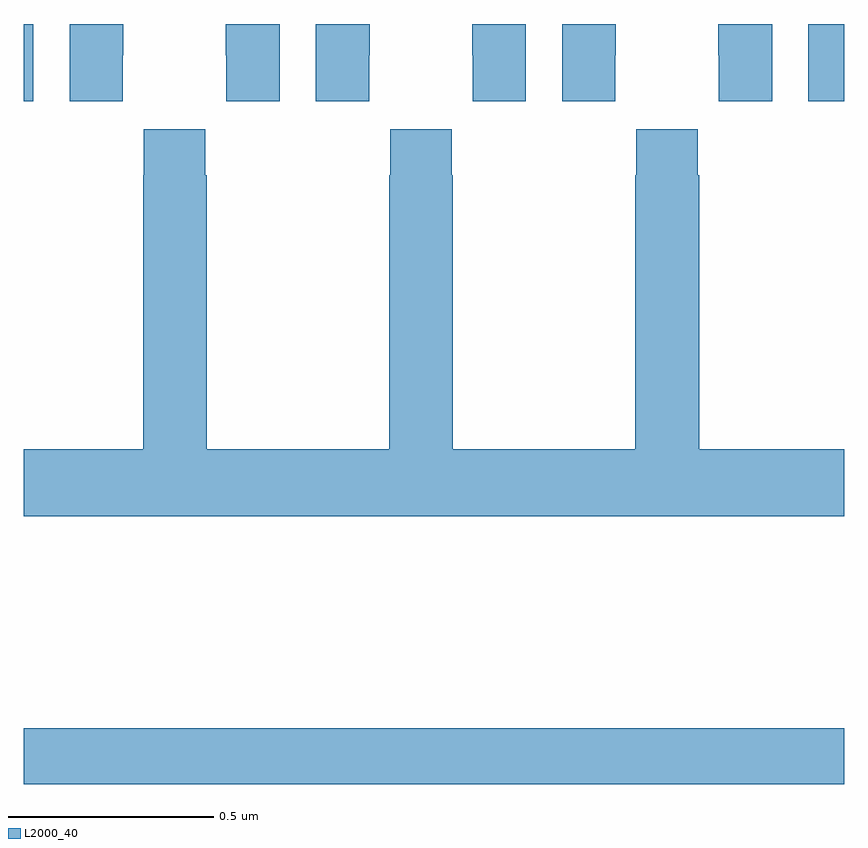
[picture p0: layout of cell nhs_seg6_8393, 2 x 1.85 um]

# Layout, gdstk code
import gdstk
lib = gdstk.Library(unit=1e-6, precision=1e-09)
def R(c, l, rs):  # rectangles x0, y0, x1, y1
    for r in rs: c.add(gdstk.rectangle(r[:2], r[2:], *l))
def P(c, l, *ps):  # polygons
    for p in ps: c.add(gdstk.Polygon(p, *l))
L2000_40 = (2000, 40)

nhs_seg6_8393 = lib.new_cell('nhs_seg6_8393')
R(nhs_seg6_8393, L2000_40, [(220,982.648,222,982.784), (220,984.312,220.024,984.5), (221.912,984.312,222,984.5)])
P(nhs_seg6_8393, L2000_40, [(220.242,984.424),(220.243,984.424),(220.243,984.5),(220.112,984.5),(220.112,984.312),(220.242,984.312)],
  [(220.624,984.5),(220.493,984.5),(220.493,984.424),(220.494,984.424),(220.494,984.312),(220.624,984.312)],
  [(220.842,984.424),(220.843,984.424),(220.843,984.5),(220.712,984.5),(220.712,984.312),(220.842,984.312)],
  [(221.224,984.5),(221.093,984.5),(221.093,984.424),(221.094,984.424),(221.094,984.312),(221.224,984.312)],
  [(221.442,984.424),(221.443,984.424),(221.443,984.5),(221.312,984.5),(221.312,984.312),(221.442,984.312)],
  [(221.824,984.5),(221.693,984.5),(221.693,984.424),(221.694,984.424),(221.694,984.312),(221.824,984.312)],
  [(222,983.464),(221.646,983.464),(221.646,984.131),(221.643,984.131),(221.643,984.244),(221.493,984.244),(221.493,984.131),(221.491,984.131),(221.491,983.464),(221.046,983.464),(221.046,984.131),(221.043,984.131),(221.043,984.244),(220.893,984.244),(220.893,984.131),(220.891,984.131),(220.891,983.464),(220.446,983.464),(220.446,984.131),(220.443,984.131),(220.443,984.244),(220.293,984.244),(220.293,984.131),(220.291,984.131),(220.291,983.464),(220,983.464),(220,983.3),(222,983.3)])

lib.write_gds('nhs_seg6_8393.gds')
